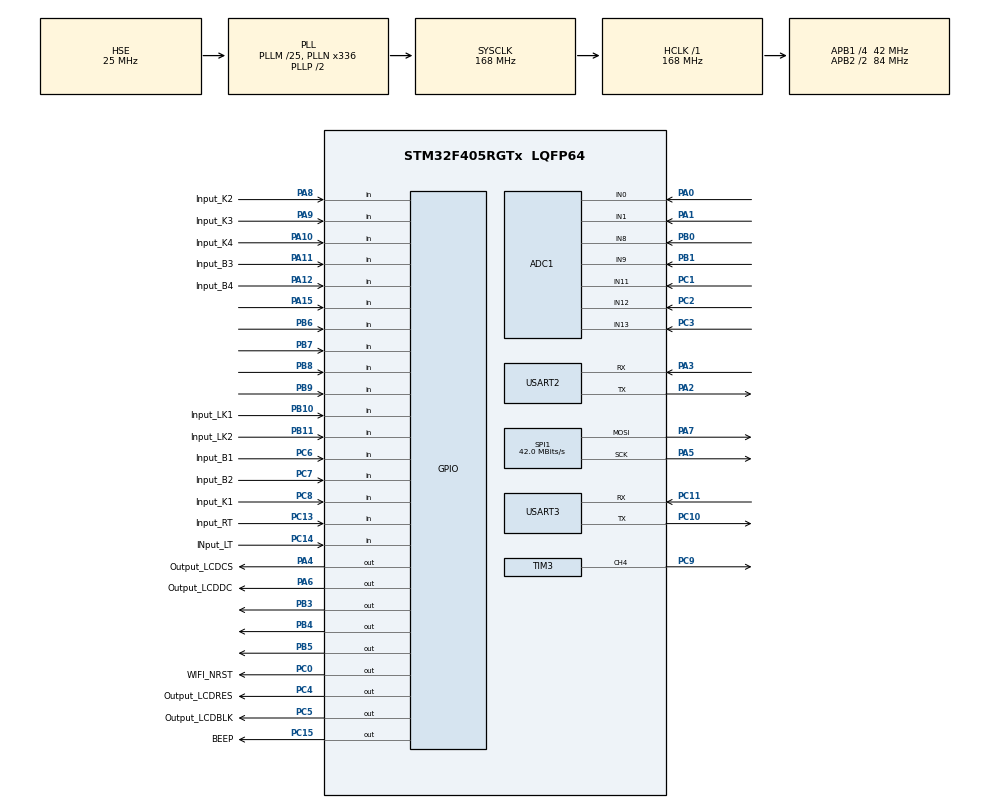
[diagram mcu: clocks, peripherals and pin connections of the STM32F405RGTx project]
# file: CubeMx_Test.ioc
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ADC1.Channel-1\#ChannelRegularConversion=ADC_CHANNEL_11
ADC1.Channel-2\#ChannelRegularConversion=ADC_CHANNEL_12
ADC1.Channel-3\#ChannelRegularConversion=ADC_CHANNEL_0
ADC1.Channel-4\#ChannelRegularConversion=ADC_CHANNEL_1
ADC1.Channel-5\#ChannelRegularConversion=ADC_CHANNEL_8
ADC1.Channel-6\#ChannelRegularConversion=ADC_CHANNEL_9
ADC1.Channel-7\#ChannelRegularConversion=ADC_CHANNEL_13
ADC1.ClockPrescaler=ADC_CLOCK_SYNC_PCLK_DIV8
ADC1.ContinuousConvMode=ENABLE
ADC1.DMAContinuousRequests=ENABLE
ADC1.NbrOfConversion=7
ADC1.NbrOfConversionFlag=1
ADC1.Rank-1\#ChannelRegularConversion=1
ADC1.Rank-2\#ChannelRegularConversion=2
ADC1.Rank-3\#ChannelRegularConversion=3
ADC1.Rank-4\#ChannelRegularConversion=4
ADC1.Rank-5\#ChannelRegularConversion=5
ADC1.Rank-6\#ChannelRegularConversion=6
ADC1.Rank-7\#ChannelRegularConversion=7
ADC1.SamplingTime-1\#ChannelRegularConversion=ADC_SAMPLETIME_3CYCLES
ADC1.SamplingTime-2\#ChannelRegularConversion=ADC_SAMPLETIME_3CYCLES
ADC1.SamplingTime-3\#ChannelRegularConversion=ADC_SAMPLETIME_3CYCLES
ADC1.SamplingTime-4\#ChannelRegularConversion=ADC_SAMPLETIME_3CYCLES
ADC1.SamplingTime-5\#ChannelRegularConversion=ADC_SAMPLETIME_3CYCLES
ADC1.SamplingTime-6\#ChannelRegularConversion=ADC_SAMPLETIME_3CYCLES
ADC1.SamplingTime-7\#ChannelRegularConversion=ADC_SAMPLETIME_3CYCLES
ADC1.ScanConvMode=ENABLE
ADC1.master=1
Dma.ADC1.0.Direction=DMA_PERIPH_TO_MEMORY
Dma.ADC1.0.FIFOMode=DMA_FIFOMODE_DISABLE
Dma.ADC1.0.Instance=DMA2_Stream0
Dma.ADC1.0.MemDataAlignment=DMA_MDATAALIGN_HALFWORD
Dma.ADC1.0.MemInc=DMA_MINC_ENABLE
Dma.ADC1.0.Mode=DMA_CIRCULAR
Dma.ADC1.0.PeriphDataAlignment=DMA_PDATAALIGN_HALFWORD
Dma.ADC1.0.PeriphInc=DMA_PINC_DISABLE
Dma.ADC1.0.Priority=DMA_PRIORITY_LOW
Dma.Request0=ADC1
Dma.Request1=USART2_RX
Dma.Request2=USART2_TX
Dma.Request3=USART3_RX
Dma.Request4=USART3_TX
Dma.Request5=TIM3_CH4/UP
Dma.TIM3_CH4/UP.5.Direction=DMA_MEMORY_TO_PERIPH
Dma.TIM3_CH4/UP.5.FIFOMode=DMA_FIFOMODE_DISABLE
Dma.TIM3_CH4/UP.5.Instance=DMA1_Stream2
Dma.TIM3_CH4/UP.5.MemDataAlignment=DMA_MDATAALIGN_WORD
Dma.TIM3_CH4/UP.5.MemInc=DMA_MINC_ENABLE
Dma.TIM3_CH4/UP.5.Mode=DMA_NORMAL
Dma.TIM3_CH4/UP.5.PeriphDataAlignment=DMA_PDATAALIGN_WORD
Dma.TIM3_CH4/UP.5.PeriphInc=DMA_PINC_DISABLE
Dma.TIM3_CH4/UP.5.Priority=DMA_PRIORITY_LOW
Dma.USART2_RX.1.Direction=DMA_PERIPH_TO_MEMORY
Dma.USART2_RX.1.FIFOMode=DMA_FIFOMODE_DISABLE
Dma.USART2_RX.1.Instance=DMA1_Stream5
Dma.USART2_RX.1.MemDataAlignment=DMA_MDATAALIGN_BYTE
Dma.USART2_RX.1.MemInc=DMA_MINC_ENABLE
Dma.USART2_RX.1.Mode=DMA_NORMAL
Dma.USART2_RX.1.PeriphDataAlignment=DMA_PDATAALIGN_BYTE
Dma.USART2_RX.1.PeriphInc=DMA_PINC_DISABLE
Dma.USART2_RX.1.Priority=DMA_PRIORITY_HIGH
Dma.USART2_TX.2.Direction=DMA_MEMORY_TO_PERIPH
Dma.USART2_TX.2.FIFOMode=DMA_FIFOMODE_DISABLE
Dma.USART2_TX.2.Instance=DMA1_Stream6
Dma.USART2_TX.2.MemDataAlignment=DMA_MDATAALIGN_BYTE
Dma.USART2_TX.2.MemInc=DMA_MINC_ENABLE
Dma.USART2_TX.2.Mode=DMA_NORMAL
Dma.USART2_TX.2.PeriphDataAlignment=DMA_PDATAALIGN_BYTE
Dma.USART2_TX.2.PeriphInc=DMA_PINC_DISABLE
Dma.USART2_TX.2.Priority=DMA_PRIORITY_HIGH
Dma.USART3_RX.3.Direction=DMA_PERIPH_TO_MEMORY
Dma.USART3_RX.3.FIFOMode=DMA_FIFOMODE_DISABLE
Dma.USART3_RX.3.Instance=DMA1_Stream1
Dma.USART3_RX.3.MemDataAlignment=DMA_MDATAALIGN_BYTE
Dma.USART3_RX.3.MemInc=DMA_MINC_ENABLE
Dma.USART3_RX.3.Mode=DMA_NORMAL
Dma.USART3_RX.3.PeriphDataAlignment=DMA_PDATAALIGN_BYTE
Dma.USART3_RX.3.PeriphInc=DMA_PINC_DISABLE
Dma.USART3_RX.3.Priority=DMA_PRIORITY_VERY_HIGH
Dma.USART3_TX.4.Direction=DMA_MEMORY_TO_PERIPH
Dma.USART3_TX.4.FIFOMode=DMA_FIFOMODE_DISABLE
Dma.USART3_TX.4.Instance=DMA1_Stream3
Dma.USART3_TX.4.MemDataAlignment=DMA_MDATAALIGN_BYTE
Dma.USART3_TX.4.MemInc=DMA_MINC_ENABLE
Dma.USART3_TX.4.Mode=DMA_NORMAL
Dma.USART3_TX.4.PeriphDataAlignment=DMA_PDATAALIGN_BYTE
Dma.USART3_TX.4.PeriphInc=DMA_PINC_DISABLE
Dma.USART3_TX.4.Priority=DMA_PRIORITY_VERY_HIGH
FREERTOS.Tasks01=TJCshow_Task,10,128,TJCshowTask,Default,NULL,Dynamic,NULL,NULL;Key_Task,11,256,KeyTask,Default,NULL,Dynamic,NULL,NULL;Joystick_Task,11,256,JoystickTask,Default,NULL,Dynamic,NULL,NULL;TJCmsg_Task,11,256,TJCmsgTask,Default,NULL,Dynamic,NULL,NULL;BTmsg_Task,11,512,BTmsgTask,Default,NULL,Dynamic,NULL,NULL;LCDLED_Task,10,128,LCDLEDTask,Default,NULL,Dynamic,NULL,NULL
FREERTOS.configCHECK_FOR_STACK_OVERFLOW=2
FREERTOS.configMINIMAL_STACK_SIZE=128
FREERTOS.configTOTAL_HEAP_SIZE=13000
FREERTOS.configUSE_IDLE_HOOK=1
Mcu.Family=STM32F4
Mcu.Name=STM32F405RGTx
Mcu.Package=LQFP64
NVIC.DMA1_Stream1_IRQn=true\:5\:0\:false\:false\:true\:true\:false\:true\:true
NVIC.DMA1_Stream2_IRQn=true\:5\:0\:false\:false\:true\:true\:false\:true\:true
NVIC.DMA1_Stream3_IRQn=true\:5\:0\:false\:false\:true\:true\:false\:true\:true
NVIC.DMA1_Stream5_IRQn=true\:5\:0\:false\:false\:true\:true\:false\:true\:true
NVIC.DMA1_Stream6_IRQn=true\:5\:0\:false\:false\:true\:true\:false\:true\:true
NVIC.DMA2_Stream0_IRQn=true\:5\:0\:false\:false\:true\:true\:false\:true\:true
NVIC.PriorityGroup=NVIC_PRIORITYGROUP_4
NVIC.TIM1_UP_TIM10_IRQn=true\:15\:0\:false\:false\:true\:false\:false\:true\:true
NVIC.TimeBase=TIM1_UP_TIM10_IRQn
NVIC.TimeBaseIP=TIM1
NVIC.USART2_IRQn=true\:5\:0\:false\:false\:true\:true\:true\:true\:true
NVIC.USART3_IRQn=true\:5\:0\:false\:false\:true\:true\:true\:true\:true
PA0-WKUP.Signal=ADCx_IN0
PA1.Signal=ADCx_IN1
PA10.GPIO_Label=Input_K4
PA10.GPIO_PuPd=GPIO_PULLUP
PA10.Signal=GPIO_Input
PA11.GPIO_Label=Input_B3
PA11.GPIO_PuPd=GPIO_PULLUP
PA11.Signal=GPIO_Input
PA12.GPIO_Label=Input_B4
PA12.GPIO_PuPd=GPIO_PULLUP
PA12.Signal=GPIO_Input
PA13.Mode=Serial_Wire
PA13.Signal=SYS_JTMS-SWDIO
PA14.Mode=Serial_Wire
PA14.Signal=SYS_JTCK-SWCLK
PA15.GPIO_PuPd=GPIO_PULLUP
PA15.Signal=GPIO_Input
PA2.Mode=Asynchronous
PA2.Signal=USART2_TX
PA3.Mode=Asynchronous
PA3.Signal=USART2_RX
PA4.GPIO_Label=Output_LCDCS
PA4.Signal=GPIO_Output
PA5.Mode=TX_Only_Simplex_Unidirect_Master
PA5.Signal=SPI1_SCK
PA6.GPIO_Label=Output_LCDDC
PA6.Signal=GPIO_Output
PA7.Mode=TX_Only_Simplex_Unidirect_Master
PA7.Signal=SPI1_MOSI
PA8.GPIO_Label=Input_K2
PA8.GPIO_PuPd=GPIO_PULLUP
PA8.Signal=GPIO_Input
PA9.GPIO_Label=Input_K3
PA9.GPIO_PuPd=GPIO_PULLUP
PA9.Signal=GPIO_Input
PB0.Signal=ADCx_IN8
PB1.Signal=ADCx_IN9
PB10.GPIO_Label=Input_LK1
PB10.GPIO_PuPd=GPIO_PULLUP
PB10.Signal=GPIO_Input
PB11.GPIO_Label=Input_LK2
PB11.GPIO_PuPd=GPIO_PULLUP
PB11.Signal=GPIO_Input
PB3.PinState=GPIO_PIN_SET
PB3.Signal=GPIO_Output
PB4.GPIO_ModeDefaultOutputPP=GPIO_MODE_OUTPUT_PP
PB4.GPIO_PuPd=GPIO_NOPULL
PB4.PinState=GPIO_PIN_SET
PB4.Signal=GPIO_Output
PB5.GPIO_ModeDefaultOutputPP=GPIO_MODE_OUTPUT_PP
PB5.GPIO_PuPd=GPIO_NOPULL
PB5.PinState=GPIO_PIN_SET
PB5.Signal=GPIO_Output
PB6.GPIO_PuPd=GPIO_PULLUP
PB6.Signal=GPIO_Input
PB7.GPIO_PuPd=GPIO_PULLUP
PB7.Signal=GPIO_Input
PB8.GPIO_Mode=GPIO_MODE_INPUT
PB8.GPIO_PuPd=GPIO_PULLUP
PB8.Signal=GPIO_Input
PB9.GPIO_PuPd=GPIO_PULLUP
PB9.Signal=GPIO_Input
PC0.GPIO_Label=WIFI_NRST
PC0.GPIO_ModeDefaultOutputPP=GPIO_MODE_OUTPUT_PP
PC0.GPIO_PuPd=GPIO_NOPULL
PC0.PinState=GPIO_PIN_SET
PC0.Signal=GPIO_Output
PC1.Signal=ADCx_IN11
PC10.Mode=Asynchronous
PC10.Signal=USART3_TX
PC11.Mode=Asynchronous
PC11.Signal=USART3_RX
PC12.Signal=UART5_TX
PC13-ANTI_TAMP.GPIO_Label=Input_RT
PC13-ANTI_TAMP.GPIO_PuPd=GPIO_PULLUP
PC13-ANTI_TAMP.Signal=GPIO_Input
PC14-OSC32_IN.GPIO_Label=INput_LT
PC14-OSC32_IN.GPIO_PuPd=GPIO_PULLUP
PC14-OSC32_IN.Signal=GPIO_Input
PC15-OSC32_OUT.GPIO_Label=BEEP
PC15-OSC32_OUT.Signal=GPIO_Output
PC2.Signal=ADCx_IN12
PC3.Signal=ADCx_IN13
PC4.GPIO_Label=Output_LCDRES
PC4.Signal=GPIO_Output
PC5.GPIO_Label=Output_LCDBLK
PC5.Signal=GPIO_Output
PC6.GPIO_Label=Input_B1
PC6.GPIO_PuPd=GPIO_PULLUP
PC6.Signal=GPIO_Input
PC7.GPIO_Label=Input_B2
PC7.GPIO_PuPd=GPIO_PULLUP
PC7.Signal=GPIO_Input
PC8.GPIO_Label=Input_K1
PC8.GPIO_PuPd=GPIO_PULLUP
PC8.Signal=GPIO_Input
PC9.Signal=S_TIM3_CH4
PD2.Signal=UART5_RX
PH0-OSC_IN.Mode=HSE-External-Oscillator
PH0-OSC_IN.Signal=RCC_OSC_IN
PH1-OSC_OUT.Mode=HSE-External-Oscillator
PH1-OSC_OUT.Signal=RCC_OSC_OUT
ProjectManager.HeapSize=0x1200
ProjectManager.StackSize=0x1000
ProjectManager.TargetToolchain=MDK-ARM V5.32
RCC.48MHZClocksFreq_Value=84000000
RCC.AHBFreq_Value=168000000
RCC.APB1CLKDivider=RCC_HCLK_DIV4
RCC.APB1Freq_Value=42000000
RCC.APB1TimFreq_Value=84000000
RCC.APB2CLKDivider=RCC_HCLK_DIV2
RCC.APB2Freq_Value=84000000
RCC.APB2TimFreq_Value=168000000
RCC.CortexFreq_Value=168000000
RCC.HCLKFreq_Value=168000000
RCC.HSE_VALUE=25000000
RCC.HSI_VALUE=16000000
RCC.LSE_VALUE=32768
RCC.PLLM=25
RCC.PLLN=336
RCC.PLLSourceVirtual=RCC_PLLSOURCE_HSE
RCC.SYSCLKFreq_VALUE=168000000
RCC.SYSCLKSource=RCC_SYSCLKSOURCE_PLLCLK
RCC.VCOOutputFreq_Value=336000000
SH.ADCx_IN0.0=ADC1_IN0,IN0
SH.ADCx_IN1.0=ADC1_IN1,IN1
SH.ADCx_IN11.0=ADC1_IN11,IN11
SH.ADCx_IN12.0=ADC1_IN12,IN12
SH.ADCx_IN13.0=ADC1_IN13,IN13
SH.ADCx_IN8.0=ADC1_IN8,IN8
SH.ADCx_IN9.0=ADC1_IN9,IN9
SH.S_TIM3_CH4.0=TIM3_CH4,PWM Generation4 CH4
SPI1.BaudRatePrescaler=SPI_BAUDRATEPRESCALER_2
SPI1.CLKPhase=SPI_PHASE_1EDGE
SPI1.CLKPolarity=SPI_POLARITY_LOW
SPI1.CalculateBaudRate=42.0 MBits/s
SPI1.Direction=SPI_DIRECTION_2LINES
SPI1.Mode=SPI_MODE_MASTER
SPI1.VirtualType=VM_MASTER
TIM3.Channel-PWM\ Generation4\ CH4=TIM_CHANNEL_4
TIM3.Period=104
USART2.VirtualMode=VM_ASYNC
USART3.VirtualMode=VM_ASYNC
VP_FREERTOS_VS_CMSIS_V2.Mode=CMSIS_V2
VP_SYS_VS_tim1.Mode=TIM1
VP_TIM3_VS_ClockSourceINT.Mode=Internal
board=custom

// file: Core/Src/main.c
/* USER CODE BEGIN Header */
/**
 ******************************************************************************
 * @file           : main.c
 * @brief          : Main program body
 ******************************************************************************
 * @attention
 *
 * Copyright (c) 2025 STMicroelectronics.
 * All rights reserved.
 *
 * This software is licensed under terms that can be found in the LICENSE file
 * in the root directory of this software component.
 * If no LICENSE file comes with this software, it is provided AS-IS.
 *
 ******************************************************************************
 */
/* USER CODE END Header */
#include "main.h"
#include "cmsis_os.h"
#include "adc.h"
#include "dma.h"
#include "spi.h"
#include "tim.h"
#include "usart.h"
#include "gpio.h"

/* USER CODE BEGIN Includes */
#include "Start.h"
/* USER CODE END Includes */

void SystemClock_Config(void);
void MX_FREERTOS_Init(void);

/* USER CODE BEGIN 0 */

// uint8_t data_buffer[100] = {0};
/* USER CODE END 0 */

int main(void)
{

  /* MCU Configuration--------------------------------------------------------*/

  /* Reset of all peripherals, Initializes the Flash interface and the Systick. */
  HAL_Init();

  /* Configure the system clock */
  SystemClock_Config();

  /* Initialize all configured peripherals */
  MX_GPIO_Init();
  MX_DMA_Init();
  MX_ADC1_Init();
  MX_USART2_UART_Init();
  MX_USART3_UART_Init();
  MX_SPI1_Init();
  MX_TIM3_Init();
  /* USER CODE BEGIN 2 */
	Handle_Start();

  /* USER CODE END 2 */

  /* Init scheduler */
  osKernelInitialize();  /* Call init function for freertos objects (in cmsis_os2.c) */
  MX_FREERTOS_Init();

  /* Start scheduler */
  osKernelStart();

  /* We should never get here as control is now taken by the scheduler */

  /* Infinite loop */
  while (1)
  {

  }
}

void SystemClock_Config(void)
{
  RCC_OscInitTypeDef RCC_OscInitStruct = {0};
  RCC_ClkInitTypeDef RCC_ClkInitStruct = {0};

  /** Configure the main internal regulator output voltage
  */
  __HAL_RCC_PWR_CLK_ENABLE();
  __HAL_PWR_VOLTAGESCALING_CONFIG(PWR_REGULATOR_VOLTAGE_SCALE1);

  /** Initializes the RCC Oscillators according to the specified parameters
  * in the RCC_OscInitTypeDef structure.
  */
  RCC_OscInitStruct.OscillatorType = RCC_OSCILLATORTYPE_HSE;
  RCC_OscInitStruct.HSEState = RCC_HSE_ON;
  RCC_OscInitStruct.PLL.PLLState = RCC_PLL_ON;
  RCC_OscInitStruct.PLL.PLLSource = RCC_PLLSOURCE_HSE;
  RCC_OscInitStruct.PLL.PLLM = 25;
  RCC_OscInitStruct.PLL.PLLN = 336;
  RCC_OscInitStruct.PLL.PLLP = RCC_PLLP_DIV2;
  RCC_OscInitStruct.PLL.PLLQ = 4;
  if (HAL_RCC_OscConfig(&RCC_OscInitStruct) != HAL_OK)
  {
    Error_Handler();
  }

  /** Initializes the CPU, AHB and APB buses clocks
  */
  RCC_ClkInitStruct.ClockType = RCC_CLOCKTYPE_HCLK|RCC_CLOCKTYPE_SYSCLK
                              |RCC_CLOCKTYPE_PCLK1|RCC_CLOCKTYPE_PCLK2;
  RCC_ClkInitStruct.SYSCLKSource = RCC_SYSCLKSOURCE_PLLCLK;
  RCC_ClkInitStruct.AHBCLKDivider = RCC_SYSCLK_DIV1;
  RCC_ClkInitStruct.APB1CLKDivider = RCC_HCLK_DIV4;
  RCC_ClkInitStruct.APB2CLKDivider = RCC_HCLK_DIV2;

  if (HAL_RCC_ClockConfig(&RCC_ClkInitStruct, FLASH_LATENCY_5) != HAL_OK)
  {
    Error_Handler();
  }
}

void HAL_TIM_PeriodElapsedCallback(TIM_HandleTypeDef *htim)
{
  if (htim->Instance == TIM1)
  {
    HAL_IncTick();
  }
}

void Error_Handler(void)
{
  __disable_irq();
  while (1)
  {
  }
}

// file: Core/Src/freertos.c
/* USER CODE BEGIN Header */
/**
 ******************************************************************************
 * File Name          : freertos.c
 * Description        : Code for freertos applications
 ******************************************************************************
 * @attention
 *
 * Copyright (c) 2025 STMicroelectronics.
 * All rights reserved.
 *
 * This software is licensed under terms that can be found in the LICENSE file
 * in the root directory of this software component.
 * If no LICENSE file comes with this software, it is provided AS-IS.
 *
 ******************************************************************************
 */
/* USER CODE END Header */

#include "FreeRTOS.h"
#include "task.h"
#include "main.h"
#include "cmsis_os.h"

/* USER CODE BEGIN Includes */
#include "usart.h"
#include "msg_type.h"
#include "keyboard.h"
#include "data_process.h"
#include "msg_queue.h"
#include "bw.h"
#include "tjc.h"
#include "string.h"
#include "Variables.h"
#include "LCD.h"
#include "WS2812b.h"
/* USER CODE END Includes */

/* USER CODE BEGIN Variables */

static uint8_t TJCtxbuffer[128];
static uint8_t BWtxbuffer[128];
//uint32_t last_refresh_time = 0;

char BWrxmsg;
char TJCrxmsg;
/* USER CODE END Variables */
/* Definitions for TJCshow_Task */
osThreadId_t TJCshow_TaskHandle;
const osThreadAttr_t TJCshow_Task_attributes = {
  .name = "TJCshow_Task",
  .stack_size = 128 * 4,
  .priority = (osPriority_t) osPriorityLow2,
};
/* Definitions for Key_Task */
osThreadId_t Key_TaskHandle;
const osThreadAttr_t Key_Task_attributes = {
  .name = "Key_Task",
  .stack_size = 256 * 4,
  .priority = (osPriority_t) osPriorityLow3,
};
/* Definitions for Joystick_Task */
osThreadId_t Joystick_TaskHandle;
const osThreadAttr_t Joystick_Task_attributes = {
  .name = "Joystick_Task",
  .stack_size = 256 * 4,
  .priority = (osPriority_t) osPriorityLow3,
};
/* Definitions for TJCmsg_Task */
osThreadId_t TJCmsg_TaskHandle;
const osThreadAttr_t TJCmsg_Task_attributes = {
  .name = "TJCmsg_Task",
  .stack_size = 256 * 4,
  .priority = (osPriority_t) osPriorityLow3,
};
/* Definitions for BTmsg_Task */
osThreadId_t BTmsg_TaskHandle;
const osThreadAttr_t BTmsg_Task_attributes = {
  .name = "BTmsg_Task",
  .stack_size = 512 * 4,
  .priority = (osPriority_t) osPriorityLow3,
};
/* Definitions for LCDLED_Task */
osThreadId_t LCDLED_TaskHandle;
const osThreadAttr_t LCDLED_Task_attributes = {
  .name = "LCDLED_Task",
  .stack_size = 128 * 4,
  .priority = (osPriority_t) osPriorityLow2,
};

void TJCshowTask(void *argument);
void KeyTask(void *argument);
void JoystickTask(void *argument);
void TJCmsgTask(void *argument);
void BTmsgTask(void *argument);
void LCDLEDTask(void *argument);

void MX_FREERTOS_Init(void); /* (MISRA C 2004 rule 8.1) */

/* Hook prototypes */
void vApplicationIdleHook(void);
void vApplicationStackOverflowHook(xTaskHandle xTask, signed char *pcTaskName);

/* USER CODE BEGIN 2 */
void vApplicationIdleHook(void)
{
  /* vApplicationIdleHook() will only be called if configUSE_IDLE_HOOK is set
  to 1 in FreeRTOSConfig.h. It will be called on each iteration of the idle
  task. It is essential that code added to this hook function never attempts
  to block in any way (for example, call xQueueReceive() with a block time
  specified, or call vTaskDelay()). If the application makes use of the
  vTaskDelete() API function (as this demo application does) then it is also
  important that vApplicationIdleHook() is permitted to return to its calling
  function, because it is the responsibility of the idle task to clean up
  memory allocated by the kernel to any task that has since been deleted. */
}
/* USER CODE END 2 */

/* USER CODE BEGIN 4 */
void vApplicationStackOverflowHook(xTaskHandle xTask, signed char *pcTaskName)
{
  /* Run time stack overflow checking is performed if
  configCHECK_FOR_STACK_OVERFLOW is defined to 1 or 2. This hook function is
  called if a stack overflow is detected. */
}
/* USER CODE END 4 */

void MX_FREERTOS_Init(void) {

  /* Create the thread(s) */
  /* creation of TJCshow_Task */
  TJCshow_TaskHandle = osThreadNew(TJCshowTask, NULL, &TJCshow_Task_attributes);

  /* creation of Key_Task */
  Key_TaskHandle = osThreadNew(KeyTask, NULL, &Key_Task_attributes);

  /* creation of Joystick_Task */
  Joystick_TaskHandle = osThreadNew(JoystickTask, NULL, &Joystick_Task_attributes);

  /* creation of TJCmsg_Task */
  TJCmsg_TaskHandle = osThreadNew(TJCmsgTask, NULL, &TJCmsg_Task_attributes);

  /* creation of BTmsg_Task */
  BTmsg_TaskHandle = osThreadNew(BTmsgTask, NULL, &BTmsg_Task_attributes);

  /* creation of LCDLED_Task */
  LCDLED_TaskHandle = osThreadNew(LCDLEDTask, NULL, &LCDLED_Task_attributes);

}

void TJCshowTask(void *argument)
{
  /* USER CODE BEGIN TJCshowTask */
  /* Infinite loop */
  for (;;)
  {
    if (flag.TJCvalfrash)	// 等蓝牙处理数据后发送
    {
      if (flag.RobotMode== 0)
        R1_TJC_val_show();
      else
        R2_TJC_val_show();
     	flag.TJCvalfrash = false;
    }
		if (temp.POWERflashtic++ == 100)	// 检测电量
    {
      powerSend(power_scan());
      temp.POWERflashtic = 0;
    }
    osDelay(40);
  }
  /* USER CODE END TJCshowTask */
}

void KeyTask(void *argument)
{
  /* USER CODE BEGIN KeyTask */
  /* Infinite loop */
  for (;;)
  {
      temp.key_num = KeyScan();
		  temp.ToggleNum = ToggleScan();
			if (temp.key_num != 0)	// 扫描到按键变化
			{
				if (flag.RobotMode== 0)
					R1_key_function(temp.key_num);
				else
					R2_key_function(temp.key_num);
			}
			if(temp.ToggleNum!=temp.ToggleNumlast)
			{
					Toggle_status_show();
					temp.ToggleNumlast=temp.ToggleNum ;
					if (flag.RobotMode== 0)
						R1_toggle_function(temp.ToggleNum);
					else
						R2_toggle_function(temp.ToggleNum);
			}
			osDelay(30);
  }
  /* USER CODE END KeyTask */
}

void JoystickTask(void *argument)
{
  /* USER CODE BEGIN JoystickTask */
  /* Infinite loop */
  for (;;)
  {
    joystickLeft2_scan();
    if (!flag.JSalonemode)
      joystickLeft1_scan();
    joystickRight_scan();
    if (flag.RobotMode == 0)
    {
      r1controlmsg.setx = JScontrolmsg.velX; // 将摇杆控制消息赋值给R1控制消息
      r1controlmsg.sety = JScontrolmsg.velY;
      r1controlmsg.setw = JScontrolmsg.angW;
    }
    else
    {
      r2controlmsg.Vx = JScontrolmsg.velX; // 将摇杆控制消息赋值给R2控制消息
      r2controlmsg.Vy = JScontrolmsg.velY;
      r2controlmsg.Vw = JScontrolmsg.angW;
    }
    uint8_t *data;
    if (flag.RobotMode == 0)
       data = dataEncode(R1all_ID, &U2DataFrame); // 编码
    else
       data = dataEncode(R2all_ID, &U2DataFrame);

    enQueueLen(USARTmsgTxQueue, data, U2DataFrame.sendlen); // 入队
    osDelay(25);
  }
  /* USER CODE END JoystickTask */
}

void TJCmsgTask(void *argument)
{
  /* USER CODE BEGIN TJCmsgTask */
  /* Infinite loop */
  for (;;)
  {
    while (deQueue(TJCMsgQueue, (uint8_t *)&TJCrxmsg))
      GetMsg(&tjcMsg, TJCrxmsg, &bw); // 解析触摸屏反馈
    osDelay(40);
  }
  /* USER CODE END TJCmsgTask */
}

void BTmsgTask(void *argument)
{
  /* USER CODE BEGIN BTmsgTask */
  /* Infinite loop */
  for (;;)
  {
    while (deQueue(USARTmsgRxQueue, (uint8_t *)&BWrxmsg))
      BW16Read(&bw, BWrxmsg);		// 解析蓝牙接收数据

    uint8_t _ch;
    int i = 0;
    while (deQueue(USARTmsgTxQueue, &_ch))
    {
      BWtxbuffer[i] = _ch;
      i++;
    }
    if (i != 0 && flag.QUEUEtx)
    {
      HAL_UART_Transmit_DMA(&huart2, BWtxbuffer, i);
    }
    osDelay(40);
  }
  /* USER CODE END BTmsgTask */
}

void LCDLEDTask(void *argument)
{
  /* USER CODE BEGIN LCDLEDTask */
  /* Infinite loop */
  for (;;)
  {
      if (flag.LCDfirstshow) // 第一次LCD刷新界面基本文字要素
      {
				if (flag.RobotMode == 0)
					R1_Interface();
				else
          R2_Interface();
				Toggle_status_show();
				temp.ToggleNum=0x0F;
				BTstatus_show();	// 显示一些没用的东西
        flag.LCDfirstshow = false;
      }
      else
        LCD_flash(); // 动态显示
    osDelay(40);
  }
  /* USER CODE END LCDLEDTask */
}
